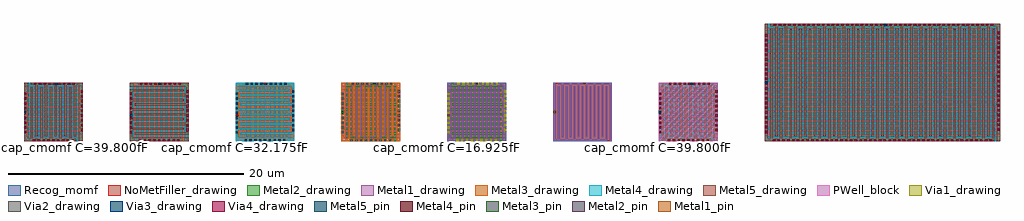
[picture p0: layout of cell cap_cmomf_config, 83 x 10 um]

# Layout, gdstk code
import gdstk
lib = gdstk.Library(unit=1e-6, precision=1e-09)
def R(c, l, rs):  # rectangles x0, y0, x1, y1
    for r in rs: c.add(gdstk.rectangle(r[:2], r[2:], *l))
def A(c, l, x, y, w, h, nx, ny, dx, dy):  # array of equal rectangles
    R(c, l, [(x+i*dx, y+j*dy, x+i*dx+w, y+j*dy+h) for i in range(nx) for j in range(ny)])
Metal1_drawing = (8, 0)
Metal1_pin = (8, 2)
Metal2_drawing = (10, 0)
Metal2_pin = (10, 2)
Via1_drawing = (19, 0)
Via2_drawing = (29, 0)
Metal3_drawing = (30, 0)
Metal3_pin = (30, 2)
PWell_block = (46, 21)
Via3_drawing = (49, 0)
Metal4_drawing = (50, 0)
Metal4_pin = (50, 2)
Via4_drawing = (66, 0)
Metal5_drawing = (67, 0)
Metal5_pin = (67, 2)
Recog_momf = (99, 40)
NoMetFiller_drawing = (160, 0)

cap_cmomf_config = lib.new_cell('cap_cmomf_config')
A(cap_cmomf_config, Metal1_drawing, 0.55, 0, 0.16, 4.61, 6, 1, 0.68, 0)
A(cap_cmomf_config, Metal1_drawing, 18, 0, 4.45, 0.21, 3, 1, 9, 0)
A(cap_cmomf_config, Metal1_drawing, 18.55, 0, 0.16, 4.61, 6, 1, 0.68, 0)
A(cap_cmomf_config, Metal1_drawing, 27.55, 0, 0.16, 4.61, 6, 1, 0.68, 0)
A(cap_cmomf_config, Metal1_drawing, 36.55, 0, 0.16, 4.61, 6, 1, 0.68, 0)
A(cap_cmomf_config, Metal1_drawing, 45.38, 0, 0.16, 4.66, 7, 1, 0.68, 0)
A(cap_cmomf_config, Metal1_drawing, 54.55, 0, 0.16, 4.61, 6, 1, 0.68, 0)
A(cap_cmomf_config, Metal1_drawing, 63.4, 0, 0.16, 9.61, 29, 1, 0.68, 0)
A(cap_cmomf_config, Metal1_drawing, 45.72, 0.34, 0.16, 4.66, 6, 1, 0.68, 0)
A(cap_cmomf_config, Metal1_drawing, 0.89, 0.39, 0.16, 4.61, 6, 1, 0.68, 0)
A(cap_cmomf_config, Metal1_drawing, 18.89, 0.39, 0.16, 4.61, 6, 1, 0.68, 0)
A(cap_cmomf_config, Metal1_drawing, 27.89, 0.39, 0.16, 4.61, 6, 1, 0.68, 0)
A(cap_cmomf_config, Metal1_drawing, 36.89, 0.39, 0.16, 4.61, 6, 1, 0.68, 0)
A(cap_cmomf_config, Metal1_drawing, 54.89, 0.39, 0.16, 4.61, 6, 1, 0.68, 0)
A(cap_cmomf_config, Metal1_drawing, 63.74, 0.39, 0.16, 9.61, 28, 1, 0.68, 0)
A(cap_cmomf_config, Metal1_drawing, 18.55, 4.79, 4.45, 0.21, 3, 1, 9, 0)
R(cap_cmomf_config, Metal1_drawing, [(0,0,0.33,5), (0,0,4.45,0.21), (4.67,0,5,5), (18,0,18.33,5), (22.67,0,23,5), (27,0,27.33,5), (31.67,0,32,5), (36,0,36.33,5), (40.67,0,41,5), (45,0,45.2,5), (45,0,49.62,0.16), (49.8,0,50,5), (54,0,54.33,5), (54,0,58.45,0.21), (58.67,0,59,5), (63,0,63.22,10), (63,0,82.6,0.21), (82.78,0,83,10), (0.55,4.79,5,5), (54.55,4.79,59,5), (45.38,4.84,50,5), (63.4,9.79,83,10)])
R(cap_cmomf_config, Metal1_pin, [(45,2.4,45.2,2.6), (47.59,4.84,47.79,5)])
A(cap_cmomf_config, Metal2_drawing, 9.555, 0, 0.2, 4.585, 5, 1, 0.82, 0)
A(cap_cmomf_config, Metal2_drawing, 18, 0, 5, 0.345, 3, 2, 9, 4.655)
A(cap_cmomf_config, Metal2_drawing, 18, 0, 0.205, 4.445, 3, 1, 9, 0)
A(cap_cmomf_config, Metal2_drawing, 9.965, 0.415, 0.2, 4.585, 5, 1, 0.82, 0)
A(cap_cmomf_config, Metal2_drawing, 0.42, 0.555, 4.58, 0.2, 1, 5, 0, 0.82)
A(cap_cmomf_config, Metal2_drawing, 18.42, 0.555, 4.58, 0.2, 3, 5, 9, 0.82)
A(cap_cmomf_config, Metal2_drawing, 22.795, 0.555, 0.205, 4.445, 3, 1, 9, 0)
A(cap_cmomf_config, Metal2_drawing, 54.42, 0.555, 4.58, 0.2, 1, 5, 0, 0.82)
A(cap_cmomf_config, Metal2_drawing, 63.42, 0.595, 19.58, 0.2, 1, 11, 0, 0.82)
A(cap_cmomf_config, Metal2_drawing, 0, 0.965, 4.58, 0.2, 1, 5, 0, 0.82)
A(cap_cmomf_config, Metal2_drawing, 18, 0.965, 4.58, 0.2, 3, 5, 9, 0.82)
A(cap_cmomf_config, Metal2_drawing, 54, 0.965, 4.58, 0.2, 1, 5, 0, 0.82)
A(cap_cmomf_config, Metal2_drawing, 63, 1.005, 19.58, 0.2, 1, 11, 0, 0.82)
R(cap_cmomf_config, Metal2_drawing, [(0,0,5,0.345), (0,0,0.205,4.445), (9,0,9.345,5), (9,0,13.445,0.2), (13.655,0,14,5), (54,0,59,0.345), (54,0,54.205,4.445), (63,0,83,0.385), (63,0,63.205,9.405), (4.795,0.555,5,5), (58.795,0.555,59,5), (82.795,0.595,83,10), (0,4.655,5,5), (54,4.655,59,5), (9.555,4.8,14,5), (63,9.615,83,10)])
R(cap_cmomf_config, Metal2_pin, [(36,2.12,36.2,2.32), (38.4,4.8,38.6,5)])
A(cap_cmomf_config, Via1_drawing, 0.765, 0.01, 0.19, 0.19, 9, 1, 0.41, 0)
A(cap_cmomf_config, Via1_drawing, 18.765, 0.01, 0.19, 0.19, 9, 1, 0.41, 0)
A(cap_cmomf_config, Via1_drawing, 27.765, 0.01, 0.19, 0.19, 9, 1, 0.41, 0)
A(cap_cmomf_config, Via1_drawing, 36.765, 0.01, 0.19, 0.19, 9, 1, 0.41, 0)
A(cap_cmomf_config, Via1_drawing, 54.765, 0.01, 0.19, 0.19, 9, 1, 0.41, 0)
A(cap_cmomf_config, Via1_drawing, 63.68, 0.01, 0.19, 0.19, 46, 1, 0.41, 0)
A(cap_cmomf_config, Via1_drawing, 0.01, 0.665, 0.19, 0.19, 1, 9, 0, 0.41)
A(cap_cmomf_config, Via1_drawing, 18.01, 0.665, 0.19, 0.19, 3, 9, 9, 0.41)
A(cap_cmomf_config, Via1_drawing, 54.01, 0.665, 0.19, 0.19, 1, 9, 0, 0.41)
A(cap_cmomf_config, Via1_drawing, 63.01, 0.705, 0.19, 0.19, 1, 21, 0, 0.41)
A(cap_cmomf_config, Via1_drawing, 4.8, 0.865, 0.19, 0.19, 1, 9, 0, 0.41)
A(cap_cmomf_config, Via1_drawing, 22.8, 0.865, 0.19, 0.19, 3, 9, 9, 0.41)
A(cap_cmomf_config, Via1_drawing, 58.8, 0.865, 0.19, 0.19, 1, 9, 0, 0.41)
A(cap_cmomf_config, Via1_drawing, 82.8, 0.905, 0.19, 0.19, 1, 21, 0, 0.41)
A(cap_cmomf_config, Via1_drawing, 0.865, 4.8, 0.19, 0.19, 9, 1, 0.41, 0)
A(cap_cmomf_config, Via1_drawing, 18.865, 4.8, 0.19, 0.19, 9, 1, 0.41, 0)
A(cap_cmomf_config, Via1_drawing, 27.865, 4.8, 0.19, 0.19, 9, 1, 0.41, 0)
A(cap_cmomf_config, Via1_drawing, 36.865, 4.8, 0.19, 0.19, 9, 1, 0.41, 0)
A(cap_cmomf_config, Via1_drawing, 54.865, 4.8, 0.19, 0.19, 9, 1, 0.41, 0)
A(cap_cmomf_config, Via1_drawing, 63.78, 9.8, 0.19, 0.19, 46, 1, 0.41, 0)
A(cap_cmomf_config, Via2_drawing, 0.765, 0.005, 0.19, 0.19, 9, 1, 0.41, 0)
A(cap_cmomf_config, Via2_drawing, 9.765, 0.005, 0.19, 0.19, 9, 1, 0.41, 0)
A(cap_cmomf_config, Via2_drawing, 18.765, 0.005, 0.19, 0.19, 9, 1, 0.41, 0)
A(cap_cmomf_config, Via2_drawing, 27.765, 0.005, 0.19, 0.19, 9, 1, 0.41, 0)
A(cap_cmomf_config, Via2_drawing, 54.765, 0.005, 0.19, 0.19, 9, 1, 0.41, 0)
A(cap_cmomf_config, Via2_drawing, 63.68, 0.005, 0.19, 0.19, 46, 1, 0.41, 0)
A(cap_cmomf_config, Via2_drawing, 0.005, 0.665, 0.19, 0.19, 4, 9, 9, 0.41)
A(cap_cmomf_config, Via2_drawing, 54.005, 0.665, 0.19, 0.19, 1, 9, 0, 0.41)
A(cap_cmomf_config, Via2_drawing, 63.005, 0.705, 0.19, 0.19, 1, 21, 0, 0.41)
A(cap_cmomf_config, Via2_drawing, 4.805, 0.865, 0.19, 0.19, 4, 9, 9, 0.41)
A(cap_cmomf_config, Via2_drawing, 58.805, 0.865, 0.19, 0.19, 1, 9, 0, 0.41)
A(cap_cmomf_config, Via2_drawing, 82.805, 0.905, 0.19, 0.19, 1, 21, 0, 0.41)
A(cap_cmomf_config, Via2_drawing, 0.865, 4.805, 0.19, 0.19, 9, 1, 0.41, 0)
A(cap_cmomf_config, Via2_drawing, 9.865, 4.805, 0.19, 0.19, 9, 1, 0.41, 0)
A(cap_cmomf_config, Via2_drawing, 18.865, 4.805, 0.19, 0.19, 9, 1, 0.41, 0)
A(cap_cmomf_config, Via2_drawing, 27.865, 4.805, 0.19, 0.19, 9, 1, 0.41, 0)
A(cap_cmomf_config, Via2_drawing, 54.865, 4.805, 0.19, 0.19, 9, 1, 0.41, 0)
A(cap_cmomf_config, Via2_drawing, 63.78, 9.805, 0.19, 0.19, 46, 1, 0.41, 0)
A(cap_cmomf_config, Metal3_drawing, 0.555, 0, 0.2, 4.59, 5, 1, 0.82, 0)
A(cap_cmomf_config, Metal3_drawing, 18.555, 0, 0.2, 4.59, 5, 1, 0.82, 0)
A(cap_cmomf_config, Metal3_drawing, 27.555, 0, 0.2, 4.59, 5, 1, 0.82, 0)
A(cap_cmomf_config, Metal3_drawing, 54.555, 0, 0.2, 4.59, 5, 1, 0.82, 0)
A(cap_cmomf_config, Metal3_drawing, 63.47, 0, 0.2, 9.59, 24, 1, 0.82, 0)
A(cap_cmomf_config, Metal3_drawing, 0.965, 0.41, 0.2, 4.59, 5, 1, 0.82, 0)
A(cap_cmomf_config, Metal3_drawing, 18.965, 0.41, 0.2, 4.59, 5, 1, 0.82, 0)
A(cap_cmomf_config, Metal3_drawing, 27.965, 0.41, 0.2, 4.59, 5, 1, 0.82, 0)
A(cap_cmomf_config, Metal3_drawing, 54.965, 0.41, 0.2, 4.59, 5, 1, 0.82, 0)
A(cap_cmomf_config, Metal3_drawing, 63.88, 0.41, 0.2, 9.59, 23, 1, 0.82, 0)
A(cap_cmomf_config, Metal3_drawing, 9.41, 0.555, 4.59, 0.2, 1, 5, 0, 0.82)
A(cap_cmomf_config, Metal3_drawing, 9, 0.965, 4.59, 0.2, 1, 5, 0, 0.82)
R(cap_cmomf_config, Metal3_drawing, [(0,0,0.345,5), (0,0,4.445,0.2), (4.655,0,5,5), (9,0,14,0.345), (9,0,9.2,4.445), (18,0,18.345,5), (18,0,22.445,0.2), (22.655,0,23,5), (27,0,27.345,5), (27,0,31.445,0.2), (31.655,0,32,5), (54,0,54.345,5), (54,0,58.445,0.2), (58.655,0,59,5), (63,0,63.26,10), (63,0,82.53,0.2), (82.74,0,83,10), (13.8,0.555,14,5), (9,4.655,14,5), (0.555,4.8,5,5), (18.555,4.8,23,5), (27.555,4.8,32,5), (54.555,4.8,59,5), (63.47,9.8,83,10)])
R(cap_cmomf_config, Metal3_pin, [(27,2.4,27.2,2.6), (29.675,4.8,29.875,5)])
R(cap_cmomf_config, PWell_block, [(54,0,59,5)])
A(cap_cmomf_config, Via3_drawing, 0.765, 0.005, 0.19, 0.19, 9, 1, 0.41, 0)
A(cap_cmomf_config, Via3_drawing, 9.765, 0.005, 0.19, 0.19, 9, 1, 0.41, 0)
A(cap_cmomf_config, Via3_drawing, 18.765, 0.005, 0.19, 0.19, 9, 1, 0.41, 0)
A(cap_cmomf_config, Via3_drawing, 54.765, 0.005, 0.19, 0.19, 9, 1, 0.41, 0)
A(cap_cmomf_config, Via3_drawing, 63.68, 0.005, 0.19, 0.19, 46, 1, 0.41, 0)
A(cap_cmomf_config, Via3_drawing, 0.005, 0.665, 0.19, 0.19, 3, 9, 9, 0.41)
A(cap_cmomf_config, Via3_drawing, 54.005, 0.665, 0.19, 0.19, 1, 9, 0, 0.41)
A(cap_cmomf_config, Via3_drawing, 63.005, 0.705, 0.19, 0.19, 1, 21, 0, 0.41)
A(cap_cmomf_config, Via3_drawing, 4.805, 0.865, 0.19, 0.19, 3, 9, 9, 0.41)
A(cap_cmomf_config, Via3_drawing, 58.805, 0.865, 0.19, 0.19, 1, 9, 0, 0.41)
A(cap_cmomf_config, Via3_drawing, 82.805, 0.905, 0.19, 0.19, 1, 21, 0, 0.41)
A(cap_cmomf_config, Via3_drawing, 0.865, 4.805, 0.19, 0.19, 9, 1, 0.41, 0)
A(cap_cmomf_config, Via3_drawing, 9.865, 4.805, 0.19, 0.19, 9, 1, 0.41, 0)
A(cap_cmomf_config, Via3_drawing, 18.865, 4.805, 0.19, 0.19, 9, 1, 0.41, 0)
A(cap_cmomf_config, Via3_drawing, 54.865, 4.805, 0.19, 0.19, 9, 1, 0.41, 0)
A(cap_cmomf_config, Via3_drawing, 63.78, 9.805, 0.19, 0.19, 46, 1, 0.41, 0)
A(cap_cmomf_config, Metal4_drawing, 9.555, 0, 0.2, 4.59, 5, 1, 0.82, 0)
A(cap_cmomf_config, Metal4_drawing, 9.965, 0.41, 0.2, 4.59, 5, 1, 0.82, 0)
A(cap_cmomf_config, Metal4_drawing, 0.41, 0.555, 4.59, 0.2, 1, 5, 0, 0.82)
A(cap_cmomf_config, Metal4_drawing, 18.41, 0.555, 4.59, 0.2, 1, 5, 0, 0.82)
A(cap_cmomf_config, Metal4_drawing, 54.41, 0.555, 4.59, 0.2, 1, 5, 0, 0.82)
A(cap_cmomf_config, Metal4_drawing, 63.41, 0.595, 19.59, 0.2, 1, 11, 0, 0.82)
A(cap_cmomf_config, Metal4_drawing, 0, 0.965, 4.59, 0.2, 1, 5, 0, 0.82)
A(cap_cmomf_config, Metal4_drawing, 18, 0.965, 4.59, 0.2, 1, 5, 0, 0.82)
A(cap_cmomf_config, Metal4_drawing, 54, 0.965, 4.59, 0.2, 1, 5, 0, 0.82)
A(cap_cmomf_config, Metal4_drawing, 63, 1.005, 19.59, 0.2, 1, 11, 0, 0.82)
R(cap_cmomf_config, Metal4_drawing, [(0,0,5,0.345), (0,0,0.2,4.445), (9,0,9.345,5), (9,0,13.445,0.2), (13.655,0,14,5), (18,0,23,0.345), (18,0,18.2,4.445), (54,0,59,0.345), (54,0,54.2,4.445), (63,0,83,0.385), (63,0,63.2,9.405), (4.8,0.555,5,5), (22.8,0.555,23,5), (58.8,0.555,59,5), (82.8,0.595,83,10), (0,4.655,5,5), (18,4.655,23,5), (54,4.655,59,5), (9.555,4.8,14,5), (63,9.615,83,10)])
R(cap_cmomf_config, Metal4_pin, [(18,2.12,18.2,2.32), (20.4,4.8,20.6,5)])
A(cap_cmomf_config, Via4_drawing, 0.765, 0.005, 0.19, 0.19, 9, 1, 0.41, 0)
A(cap_cmomf_config, Via4_drawing, 9.765, 0.005, 0.19, 0.19, 9, 1, 0.41, 0)
A(cap_cmomf_config, Via4_drawing, 54.765, 0.005, 0.19, 0.19, 9, 1, 0.41, 0)
A(cap_cmomf_config, Via4_drawing, 63.68, 0.005, 0.19, 0.19, 46, 1, 0.41, 0)
A(cap_cmomf_config, Via4_drawing, 0.005, 0.665, 0.19, 0.19, 1, 9, 0, 0.41)
A(cap_cmomf_config, Via4_drawing, 9.005, 0.665, 0.19, 0.19, 1, 9, 0, 0.41)
A(cap_cmomf_config, Via4_drawing, 54.005, 0.665, 0.19, 0.19, 1, 9, 0, 0.41)
A(cap_cmomf_config, Via4_drawing, 63.005, 0.705, 0.19, 0.19, 1, 21, 0, 0.41)
A(cap_cmomf_config, Via4_drawing, 4.805, 0.865, 0.19, 0.19, 1, 9, 0, 0.41)
A(cap_cmomf_config, Via4_drawing, 13.805, 0.865, 0.19, 0.19, 1, 9, 0, 0.41)
A(cap_cmomf_config, Via4_drawing, 58.805, 0.865, 0.19, 0.19, 1, 9, 0, 0.41)
A(cap_cmomf_config, Via4_drawing, 82.805, 0.905, 0.19, 0.19, 1, 21, 0, 0.41)
A(cap_cmomf_config, Via4_drawing, 0.865, 4.805, 0.19, 0.19, 9, 1, 0.41, 0)
A(cap_cmomf_config, Via4_drawing, 9.865, 4.805, 0.19, 0.19, 9, 1, 0.41, 0)
A(cap_cmomf_config, Via4_drawing, 54.865, 4.805, 0.19, 0.19, 9, 1, 0.41, 0)
A(cap_cmomf_config, Via4_drawing, 63.78, 9.805, 0.19, 0.19, 46, 1, 0.41, 0)
A(cap_cmomf_config, Metal5_drawing, 0.555, 0, 0.2, 4.59, 5, 1, 0.82, 0)
A(cap_cmomf_config, Metal5_drawing, 54.555, 0, 0.2, 4.59, 5, 1, 0.82, 0)
A(cap_cmomf_config, Metal5_drawing, 63.47, 0, 0.2, 9.59, 24, 1, 0.82, 0)
A(cap_cmomf_config, Metal5_drawing, 0.965, 0.41, 0.2, 4.59, 5, 1, 0.82, 0)
A(cap_cmomf_config, Metal5_drawing, 54.965, 0.41, 0.2, 4.59, 5, 1, 0.82, 0)
A(cap_cmomf_config, Metal5_drawing, 63.88, 0.41, 0.2, 9.59, 23, 1, 0.82, 0)
A(cap_cmomf_config, Metal5_drawing, 9.41, 0.555, 4.59, 0.2, 1, 5, 0, 0.82)
A(cap_cmomf_config, Metal5_drawing, 9, 0.965, 4.59, 0.2, 1, 5, 0, 0.82)
R(cap_cmomf_config, Metal5_drawing, [(0,0,0.345,5), (0,0,4.445,0.2), (4.655,0,5,5), (9,0,14,0.345), (9,0,9.2,4.445), (54,0,54.345,5), (54,0,58.445,0.2), (58.655,0,59,5), (63,0,63.26,10), (63,0,82.53,0.2), (82.74,0,83,10), (13.8,0.555,14,5), (9,4.655,14,5), (0.555,4.8,5,5), (54.555,4.8,59,5), (63.47,9.8,83,10)])
R(cap_cmomf_config, Metal5_pin, [(9,2.12,9.2,2.32), (0,2.4,0.2,2.6), (54,2.4,54.2,2.6), (2.675,4.8,2.875,5), (11.4,4.8,11.6,5), (56.675,4.8,56.875,5), (63,4.9,63.2,5.1), (73.135,9.8,73.335,10)])
A(cap_cmomf_config, Recog_momf, 0, 0, 5, 5, 7, 1, 9, 0)
R(cap_cmomf_config, Recog_momf, [(63,0,83,10)])
A(cap_cmomf_config, NoMetFiller_drawing, 0, 0, 5, 5, 7, 1, 9, 0)
R(cap_cmomf_config, NoMetFiller_drawing, [(63,0,83,10)])
cap_cmomf_config.add(gdstk.Label('cap_cmomf C=39.800fF', (0,-0.5), layer=63, texttype=0))
cap_cmomf_config.add(gdstk.Label('cap_cmomf C=30.500fF', (9,-0.5), layer=63, texttype=0))
cap_cmomf_config.add(gdstk.Label('cap_cmomf C=32.175fF', (18,-0.5), layer=63, texttype=0))
cap_cmomf_config.add(gdstk.Label('cap_cmomf C=24.550fF', (27,-0.5), layer=63, texttype=0))
cap_cmomf_config.add(gdstk.Label('cap_cmomf C=16.925fF', (36,-0.5), layer=63, texttype=0))
cap_cmomf_config.add(gdstk.Label('cap_cmomf C=9.300fF', (45,-0.5), layer=63, texttype=0))
cap_cmomf_config.add(gdstk.Label('cap_cmomf C=39.800fF', (54,-0.5), layer=63, texttype=0))
cap_cmomf_config.add(gdstk.Label('cap_cmomf C=318.400fF', (63,-0.5), layer=63, texttype=0))

lib.write_gds('cap_cmomf_config.gds')
